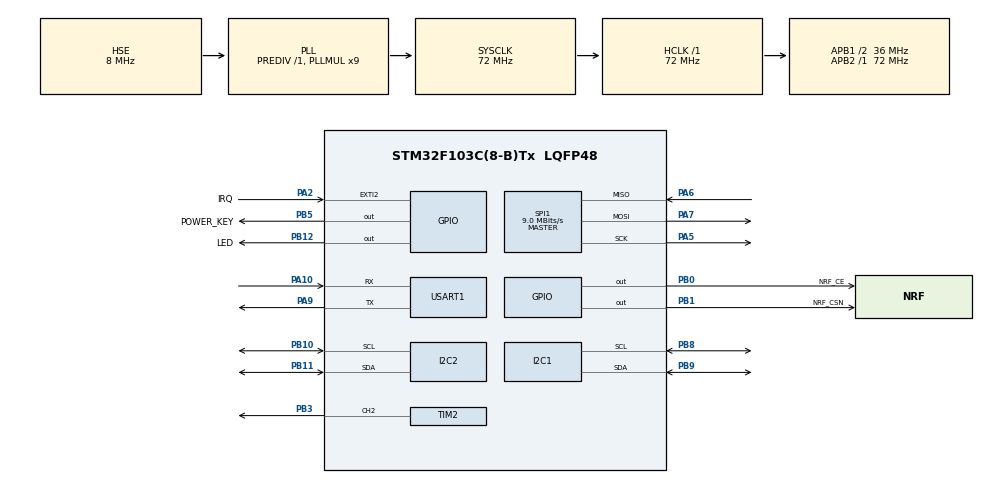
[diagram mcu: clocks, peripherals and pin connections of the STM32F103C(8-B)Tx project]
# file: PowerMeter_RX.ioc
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Mcu.Family=STM32F1
Mcu.Name=STM32F103C(8-B)Tx
Mcu.Package=LQFP48
NVIC.EXTI2_IRQn=true\:0\:0\:false\:false\:true\:true\:true\:true
NVIC.I2C2_ER_IRQn=true\:0\:0\:false\:false\:true\:true\:true\:true
NVIC.I2C2_EV_IRQn=true\:0\:0\:false\:false\:true\:true\:true\:true
NVIC.PriorityGroup=NVIC_PRIORITYGROUP_4
PA10.Mode=Asynchronous
PA10.Signal=USART1_RX
PA13.Mode=Serial_Wire
PA13.Signal=SYS_JTMS-SWDIO
PA14.Mode=Serial_Wire
PA14.Signal=SYS_JTCK-SWCLK
PA2.GPIO_Label=IRQ
PA2.GPIO_ModeDefaultEXTI=GPIO_MODE_IT_FALLING
PA2.GPIO_PuPd=GPIO_PULLUP
PA2.Signal=GPXTI2
PA5.Mode=Full_Duplex_Master
PA5.Signal=SPI1_SCK
PA6.Mode=Full_Duplex_Master
PA6.Signal=SPI1_MISO
PA7.Mode=Full_Duplex_Master
PA7.Signal=SPI1_MOSI
PA9.Mode=Asynchronous
PA9.Signal=USART1_TX
PB0.GPIO_Label=NRF_CE
PB0.Signal=GPIO_Output
PB1.GPIO_Label=NRF_CSN
PB1.PinState=GPIO_PIN_SET
PB1.Signal=GPIO_Output
PB10.Mode=I2C
PB10.Signal=I2C2_SCL
PB11.Mode=I2C
PB11.Signal=I2C2_SDA
PB12.GPIO_Label=LED
PB12.Signal=GPIO_Output
PB3.Signal=S_TIM2_CH2
PB5.GPIO_Label=POWER_KEY
PB5.Signal=GPIO_Output
PB8.GPIO_Mode=GPIO_MODE_AF_OD
PB8.Mode=I2C
PB8.Signal=I2C1_SCL
PB9.Mode=I2C
PB9.Signal=I2C1_SDA
PD0-OSC_IN.Mode=HSE-External-Oscillator
PD0-OSC_IN.Signal=RCC_OSC_IN
PD1-OSC_OUT.Mode=HSE-External-Oscillator
PD1-OSC_OUT.Signal=RCC_OSC_OUT
ProjectManager.HeapSize=0x200
ProjectManager.StackSize=0x400
ProjectManager.TargetToolchain=CMake
RCC.AHBFreq_Value=72000000
RCC.APB1CLKDivider=RCC_HCLK_DIV2
RCC.APB1Freq_Value=36000000
RCC.APB1TimFreq_Value=72000000
RCC.APB2Freq_Value=72000000
RCC.APB2TimFreq_Value=72000000
RCC.HCLKFreq_Value=72000000
RCC.PLLMUL=RCC_PLL_MUL9
RCC.PLLSourceVirtual=RCC_PLLSOURCE_HSE
RCC.SYSCLKFreq_VALUE=72000000
RCC.SYSCLKSource=RCC_SYSCLKSOURCE_PLLCLK
RCC.USBFreq_Value=72000000
SH.S_TIM2_CH2.0=TIM2_CH2,PWM Generation2 CH2
SPI1.BaudRatePrescaler=SPI_BAUDRATEPRESCALER_8
SPI1.CalculateBaudRate=9.0 MBits/s
SPI1.Direction=SPI_DIRECTION_2LINES
SPI1.Mode=SPI_MODE_MASTER
SPI1.VirtualType=VM_MASTER
TIM2.Channel-PWM\ Generation2\ CH2=TIM_CHANNEL_2
TIM2.Period=500
TIM2.Prescaler=71
TIM2.Pulse-PWM\ Generation2\ CH2=250
USART1.VirtualMode=VM_ASYNC
board=custom

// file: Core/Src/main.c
/* USER CODE BEGIN Header */
/**
  ******************************************************************************
  * @file           : main.c
  * @brief          : Main program body
  ******************************************************************************
  * @attention
  *
  * Copyright (c) 2026 STMicroelectronics.
  * All rights reserved.
  *
  * This software is licensed under terms that can be found in the LICENSE file
  * in the root directory of this software component.
  * If no LICENSE file comes with this software, it is provided AS-IS.
  *
  ******************************************************************************
  */
/* USER CODE END Header */
#include "main.h"
#include "i2c.h"
#include "spi.h"
#include "tim.h"
#include "usart.h"
#include "gpio.h"

/* USER CODE BEGIN Includes */
#include <stdio.h>
#include "OLED.h"
#include "OLED_Font.h"
#include "nrf24l01p.h"
#include "ina226.h"
#include "stm32f1xx_hal_flash.h"
/* USER CODE END Includes */

/* USER CODE BEGIN PD */

#define NRF_PAIR_ID 4u

static const uint8_t nrf_pair_addrs[][7] = {
   {0x12, 0x34, 0x56, 0x78, 0x9A}, // ID0
   {0xA1, 0xB2, 0xC3, 0xD4, 0xE5}, // ID1
   {0x57, 0x66, 0x72, 0x81, 0x99}, // ID2
   {0xA6, 0xCD, 0xEC, 0x18, 0x22}, // ID3
   {0x13, 0x57, 0x9B, 0xDF, 0x24}, // ID4
   {0x14, 0x58, 0x97, 0xD1, 0x25}, // ID5
   {0x00, 0x00, 0x00, 0x02, 0x08}, // ID6
   {0x15, 0x97, 0x9A, 0xDF, 0x74}, // ID7
};

/* USER CODE END PD */

/* USER CODE BEGIN PV */
static uint16_t tx_battery_voltage = 0;  // TX电池电压 (0.1V单位，75=7.5V)
static uint8_t  tx_low_voltage_alarm = 0; // TX低压报警标志
static uint32_t alarm_beep_counter = 0;   // 报警蜂鸣计数器

// NRF24L01通信监控变量
static uint32_t nrf_last_rx_time = 0;
static uint8_t  nrf_recovery_count = 0;
static uint32_t nrf_health_check_time = 0;
static uint32_t nrf_status_check_time = 0;
/* USER CODE END PV */

void SystemClock_Config(void);

/* USER CODE BEGIN 0 */

void NRF_Force_Set_Addr(uint8_t reg, uint8_t* addr) {
  uint8_t tx_buf[6];
  tx_buf[0] = NRF24L01P_CMD_W_REGISTER | reg;
  for(int i=0; i<5; i++) tx_buf[i+1] = addr[i];
  HAL_GPIO_WritePin(GPIOB, GPIO_PIN_1, GPIO_PIN_RESET);
  HAL_SPI_Transmit(&hspi1, tx_buf, 6, 100);
  HAL_GPIO_WritePin(GPIOB, GPIO_PIN_1, GPIO_PIN_SET);
}

// 为 RX 板添加蜂鸣器驱动函数 (控制 PB3)
// 非阻塞式蜂鸣器控制变量
static uint32_t beep_end_time = 0;
static uint8_t beep_active = 0;
static uint8_t beep_sequence_step = 0;
static uint32_t beep_sequence_delay = 0;

void RX_Beep_Start(uint16_t duration_ms) {
  HAL_TIM_PWM_Start(&htim2, TIM_CHANNEL_2);
  beep_end_time = HAL_GetTick() + duration_ms;
  beep_active = 1;
  beep_sequence_step = 0; // 重置序列
}

// 关机提示音序列：50ms响，50ms停，50ms响
void RX_Beep_Shutdown_Sequence(void) {
  if (!beep_active) {
    beep_sequence_step = 1; // 第一步：开始第一个蜂鸣
    beep_end_time = HAL_GetTick() + 50;
    beep_active = 1;
    HAL_TIM_PWM_Start(&htim2, TIM_CHANNEL_2);
  }
}

void RX_Beep_Update(void) {
  if (beep_active) {
    if (HAL_GetTick() >= beep_end_time) {
      if (beep_sequence_step == 1) {
        // 第一步结束，开始50ms间隔
        HAL_TIM_PWM_Stop(&htim2, TIM_CHANNEL_2);
        beep_sequence_step = 2;
        beep_end_time = HAL_GetTick() + 50;
      } else if (beep_sequence_step == 2) {
        // 间隔结束，开始第二个蜂鸣
        HAL_TIM_PWM_Start(&htim2, TIM_CHANNEL_2);
        beep_sequence_step = 3;
        beep_end_time = HAL_GetTick() + 50;
      } else {
        // 序列结束或单次蜂鸣结束
        HAL_TIM_PWM_Stop(&htim2, TIM_CHANNEL_2);
        beep_active = 0;
        beep_sequence_step = 0;
      }
    }
  }
}

// 兼容旧代码
void RX_Beep(uint16_t duration_ms) {
  RX_Beep_Start(duration_ms);
}

// ===================== NRF24L01 通信监控函数 =====================

// NRF状态检查回调（每5秒调用一次）
// 【新增】NRF_Health_Check() 位于 NRF_Apply_Safe_Config() 前面，
// C11 不允许未声明就调用函数，所以这里先声明完整恢复函数。
void NRF_Apply_Safe_Config(void);

void NRF_Status_Check(void) {
  if (HAL_GetTick() - nrf_status_check_time > 5000) {
    nrf_status_check_time = HAL_GetTick();
    uint8_t status = NRF_Force_Read_Reg(NRF24L01P_REG_STATUS);
    printf("[NRF] STATUS=0x%02X\r\n", status);
  }
}

// NRF健康检查和自动恢复（每30秒调用一次）
void NRF_Health_Check(void) {
  if (HAL_GetTick() - nrf_health_check_time > 30000) {
    nrf_health_check_time = HAL_GetTick();

    uint8_t config = NRF_Force_Read_Reg(NRF24L01P_REG_CONFIG);
    uint8_t en_rxaddr = NRF_Force_Read_Reg(NRF24L01P_REG_EN_RXADDR);
    uint8_t rf_ch = NRF_Force_Read_Reg(NRF24L01P_REG_RF_CH);
    uint8_t setup_aw = NRF_Force_Read_Reg(NRF24L01P_REG_SETUP_AW);
    uint8_t en_aa = NRF_Force_Read_Reg(NRF24L01P_REG_EN_AA);
    uint8_t feature = NRF_Force_Read_Reg(NRF24L01P_REG_FEATURE);

    uint8_t need_fix = 0;

    // ===================== 【修改】RX 健康检查条件 =====================
    // 旧逻辑会检查 FIFO_STATUS，并把 RX_EMPTY/TX_EMPTY 当作异常。
    // 但空闲时 FIFO 本来就经常是 empty，这会导致 RX 每 30 秒误恢复一次，反而扰乱 NRF。
    // 现在只检查“明确不应该变化”的关键配置寄存器。
    if (config == 0xFF || config == 0x00) need_fix = 1; // SPI/NRF 掉线或锁死
    if ((config & 0x03) != 0x03) need_fix = 1;
    if ((en_rxaddr & 0x01) == 0) need_fix = 1;
    if (rf_ch != 100) need_fix = 1;          // 2500MHz -> RF_CH = 100
    if ((setup_aw & 0x03) != 0x03) need_fix = 1;
    if ((en_aa & 0x01) == 0) need_fix = 1;
    if ((feature & 0x06) != 0x06) need_fix = 1;
    // =================== 【修改结束】RX 健康检查条件 ===================

    if (need_fix) {
      printf("[NRF] Health check: full recovery\r\n");
      // 【修改】不再只修几个位，而是调用完整配置函数。
      // 这样地址、FEATURE、DYNPD、EN_AA、FIFO、PRX 模式会全部重新写一遍。
      NRF_Apply_Safe_Config();
      nrf_last_rx_time = HAL_GetTick();
      nrf_recovery_count = 0;
    }
  }
}

// 统一配置应用函数：初始化和恢复时共同调用，确保地址和寄存器完整重载
void NRF_Apply_Safe_Config(void) {
  // 1. 安全解锁特性寄存器
  uint8_t feature = NRF_Force_Read_Reg(NRF24L01P_REG_FEATURE);
  if ((feature & 0x06) != 0x06) {
    NRF_Force_Write_Reg(NRF24L01P_REG_FEATURE, 0x06);
    if ((NRF_Force_Read_Reg(NRF24L01P_REG_FEATURE) & 0x06) != 0x06) {
      // 发送 ACTIVATE 命令解锁 FEATURE 寄存器（部分克隆芯片需要）
      uint8_t activate_cmd[2] = {0x50, 0x73};
      HAL_GPIO_WritePin(GPIOB, GPIO_PIN_1, GPIO_PIN_RESET);
      HAL_SPI_Transmit(&hspi1, activate_cmd, 2, 100);
      HAL_GPIO_WritePin(GPIOB, GPIO_PIN_1, GPIO_PIN_SET);
      NRF_Force_Write_Reg(NRF24L01P_REG_FEATURE, 0x06);
    }
  }

  // 2. 覆盖库函数可能写错的寄存器
  NRF_Force_Write_Reg(NRF24L01P_REG_SETUP_RETR, 0x5F); // 匹配 TX
  NRF_Force_Write_Reg(NRF24L01P_REG_EN_AA, 0x01);
  NRF_Force_Write_Reg(NRF24L01P_REG_DYNPD, 0x01);
  NRF_Force_Write_Reg(NRF24L01P_REG_EN_RXADDR, 0x01);
  NRF_Force_Write_Reg(NRF24L01P_REG_RX_PW_P0, 8);      // 强制 8 字节，防乱码

  // 3. 配置配对地址（恢复时最关键的一步，防止 prx_mode 覆盖地址）
  const uint8_t *rx_addr = nrf_pair_addrs[NRF_PAIR_ID];
  NRF_Force_Set_Addr(NRF24L01P_REG_RX_ADDR_P0, (uint8_t *)rx_addr);
  NRF_Force_Set_Addr(NRF24L01P_REG_TX_ADDR, (uint8_t *)rx_addr); // ACK 应答必须发往此地址

  // 4. 屏蔽中断引脚并确保 PRX 模式位正确
  uint8_t config = NRF_Force_Read_Reg(NRF24L01P_REG_CONFIG);
  // 【修改】恢复时不仅屏蔽 IRQ，还强制 PWR_UP=1、PRIM_RX=1。
  // 这样即使 NRF CONFIG 寄存器被干扰清零，也能回到接收模式。
  config |= 0x73; // MASK_IRQ(0x70) + PWR_UP(0x02) + PRIM_RX(0x01)
  NRF_Force_Write_Reg(NRF24L01P_REG_CONFIG, config);

  // 5. 清空 FIFO 和状态标志
  nrf24l01p_flush_rx_fifo();
  nrf24l01p_flush_tx_fifo();
  NRF_Force_Write_Reg(NRF24L01P_REG_STATUS, 0x70);

  // 6. 预装填第一发 ACK 返回数据
  uint8_t init_ack[8] = {0xBB, 0, 0, 0, 0, 0, 0, 0};
  nrf24l01p_write_ack_payload(0, init_ack);

  // 7. 进入 PRX 模式（在地址写入之后调用，防止库函数覆盖地址）
  nrf24l01p_prx_mode();
}

// NRF通信恢复检查（每15秒检查一次）
void NRF_Recovery_Check(void) {
  if (nrf_last_rx_time > 0 && HAL_GetTick() - nrf_last_rx_time > 15000) {
    nrf_recovery_count++;
    if (nrf_recovery_count >= 2) {
      printf("[NRF] No RX for 30s, recovering...\r\n");
      // 调用完整配置函数，确保地址和所有寄存器被正确重载
      // 不再单独调用 nrf24l01p_prx_mode()，防止其覆盖配对地址
      NRF_Apply_Safe_Config();
      nrf_recovery_count = 0;
      nrf_last_rx_time = HAL_GetTick();
    }
  }
}

// 记录收到数据（每次收到数据时调用）
void NRF_OnDataReceived(void) {
  nrf_last_rx_time = HAL_GetTick();
  nrf_recovery_count = 0;
}

// ===================== 结束 NRF监控 =====================

void nrf24l01p_print_status(void)
{
  uint8_t status = nrf24l01p_get_status();
  uint8_t config = NRF_Force_Read_Reg(NRF24L01P_REG_CONFIG);
  uint8_t rf_ch = NRF_Force_Read_Reg(NRF24L01P_REG_RF_CH);
  uint8_t setup_aw = NRF_Force_Read_Reg(NRF24L01P_REG_SETUP_AW);
  uint8_t en_aa = NRF_Force_Read_Reg(NRF24L01P_REG_EN_AA);
  uint8_t en_rxaddr = NRF_Force_Read_Reg(NRF24L01P_REG_EN_RXADDR);
  uint8_t rx_addr[5], tx_addr[5];

  nrf24l01p_read_registers(NRF24L01P_REG_RX_ADDR_P0, rx_addr, 5);
  nrf24l01p_read_registers(NRF24L01P_REG_TX_ADDR, tx_addr, 5);

  printf("[NRF DEBUG] STATUS=0x%02X CONFIG=0x%02X RF_CH=%u EN_AA=0x%02X EN_RXADDR=0x%02X SETUP_AW=0x%02X\n",
         status, config, rf_ch, en_aa, en_rxaddr, setup_aw);
  printf("[NRF DEBUG] RX_ADDR_P0=%02X%02X%02X%02X%02X TX_ADDR=%02X%02X%02X%02X%02X\n",
         rx_addr[0], rx_addr[1], rx_addr[2], rx_addr[3], rx_addr[4],
         tx_addr[0], tx_addr[1], tx_addr[2], tx_addr[3], tx_addr[4]);
}

/* USER CODE END 0 */

int main(void)
{

  /* MCU Configuration--------------------------------------------------------*/

  /* Reset of all peripherals, Initializes the Flash interface and the Systick. */
  HAL_Init();

  /* USER CODE BEGIN Init */
  HAL_GPIO_WritePin(GPIOB, GPIO_PIN_8 | GPIO_PIN_9, GPIO_PIN_SET); // 强制拉高 SCL/SDA
  HAL_Delay(100);
  /* USER CODE END Init */

  /* Configure the system clock */
  SystemClock_Config();

  /* Initialize all configured peripherals */
  MX_GPIO_Init();
  MX_I2C1_Init();
  MX_SPI1_Init();
  MX_USART1_UART_Init();
  MX_TIM2_Init();
  MX_I2C2_Init();
  /* USER CODE BEGIN 2 */
  __HAL_RCC_AFIO_CLK_ENABLE();
  // 【黄金上电延时】
  // 等待电源电压彻底稳定，等待 NRF24L01 和 INA226 芯片完成内部上电复位
  HAL_Delay(200);
  // OLED 初始化（之前未调用，导致屏幕黑屏）
  OLED_Init();
  OLED_Clear();
  printf("\r\n--- Power RX Board Listening ---\r\n");

  // ID 显示现在由 INA226_ShowPower 统一管理

  // 1. 初始化 NRF (1Mbps)
  nrf24l01p_rx_init(2500, _1Mbps);

  // 2. 调用统一安全配置函数（初始化与恢复共用同一套逻辑，保证行为一致）
  NRF_Apply_Safe_Config();

  // ===================== 【新增】RX 恢复计时起点 =====================
  // 旧逻辑只有收到第一包后 nrf_last_rx_time 才会大于 0。
  // 如果上电后一直没收到 TX，恢复检查就不会启动。
  // 初始化完成后立即赋值，让 RX 即使“开机后无包”也能周期性自恢复。
  nrf_last_rx_time = HAL_GetTick();
  // =================== 【新增结束】RX 恢复计时起点 ===================

  HAL_GPIO_WritePin(GPIOB, GPIO_PIN_0, GPIO_PIN_SET);

  RX_Beep(100);

  if (HAL_I2C_GetState(&hi2c2) != HAL_I2C_STATE_READY) {
    __HAL_RCC_I2C2_FORCE_RESET();
    HAL_Delay(2);
    __HAL_RCC_I2C2_RELEASE_RESET();
    MX_I2C2_Init();
  }
  INA226_Init();

  uint8_t rx_data[8];
  uint32_t power_counter = 0;
  float global_power_f = 0.0f;

  // ===== 添加物理按键(PA2)状态变量 =====
  uint8_t  button_state = 0;
  uint32_t button_press_time = 0;
  uint8_t  manual_lock_off = 0; // 0: 允许TX控制通断, 1: 物理按键强制关断，拒收TX开机指令
  // ===================================

  /* USER CODE END 2 */

  /* Infinite loop */
  /* USER CODE BEGIN WHILE */
  while (1)
  {
    HAL_GPIO_TogglePin(GPIOB, GPIO_PIN_12);

    // ===================== 物理按键逻辑 (PA2) =====================
    uint8_t current_pa2 = HAL_GPIO_ReadPin(GPIOA, GPIO_PIN_2);

    if (current_pa2 == GPIO_PIN_RESET) {
      // 按键被按下 (低电平有效)
      if (button_state == 0) {
        button_state = 1;
        button_press_time = HAL_GetTick(); // 记录刚刚按下的时刻
      } else if (button_state == 1) {
        // 人性化提示：按满2秒时，给一个短促提示音，告诉用户达到长按条件可以松手了
        if (HAL_GetTick() - button_press_time >= 2000) {
          button_state = 2; // 标记为已触发长按时间
          if (!beep_active) {
            RX_Beep_Start(50);
          }
        }
      }
    } else {
      // 按键松开 (高电平)
      if (button_state == 1 || button_state == 2) {
        uint32_t press_duration = HAL_GetTick() - button_press_time;
        button_state = 0; // 重置按键状态

        // 消除抖动 (>30ms 才认为是有效按键)
        if (press_duration > 30) {
          if (press_duration < 2000) {
            // 短按 (<2秒)松开：关机 (PB5 = 低电平)
            HAL_GPIO_WritePin(GPIOB, GPIO_PIN_5, GPIO_PIN_RESET);
            manual_lock_off = 1; // 【强制锁定】禁止TX将其开机
            printf("[BUTTON] Short Press -> Power OFF\r\n");
            // 立即停止其他所有蜂鸣
            if (beep_active) {
              HAL_TIM_PWM_Stop(&htim2, TIM_CHANNEL_2);
              beep_active = 0;
              beep_sequence_step = 0;
            }
            RX_Beep_Shutdown_Sequence(); // 关机专属提示音
          } else {
            // 长按 (>=2秒)松开：开机 (PB5 = 高电平)
            HAL_GPIO_WritePin(GPIOB, GPIO_PIN_5, GPIO_PIN_SET);
            manual_lock_off = 0;
            printf("[BUTTON] Long Press -> Power ON\r\n");
            if (!beep_active) {
              RX_Beep_Start(100); // 开机提示音
            }
          }
        }
      }
    }
    // ===============================================================

    // NRF通信监控（状态检查、健康检查、通信恢复）
    NRF_Status_Check();
    NRF_Health_Check();
    NRF_Recovery_Check();

    uint8_t status = NRF_Force_Read_Reg(NRF24L01P_REG_STATUS);
    // 过滤 SPI 异常值：0xFF 表示总线故障（全高），0x00 表示总线故障（全低）
    // 两者都可能导致误判为"有数据"，从而刷新健康时间、阻止恢复机制触发
    if (status != 0xFF && status != 0x00 && (status & 0x40)) {
      // 不调用带中断控制的 rx_receive，直接使用最底层的读取
      nrf24l01p_read_rx_fifo(rx_data);

      // 记录收到数据
      NRF_OnDataReceived();

      // 打印 RX 收到的 TX 发送数据
      printf("[RX] Recv DATA: %02X %02X %02X %02X %02X %02X %02X %02X\r\n",
             rx_data[0], rx_data[1], rx_data[2], rx_data[3],
             rx_data[4], rx_data[5], rx_data[6], rx_data[7]);

      NRF_Force_Write_Reg(NRF24L01P_REG_STATUS, 0x70); // 清空标志位
      nrf24l01p_flush_rx_fifo();

      // 乘 1000，把单位变成毫瓦 (mW)
      // 比如 0.020W * 1000 = 20mW。这样强转整数就不会丢
      uint16_t pwr_int = (uint16_t)(global_power_f * 1000.0f);
      // 获取最新 MOS 状态
      uint8_t current_mos = HAL_GPIO_ReadPin(GPIOB, GPIO_PIN_5);
      // 把 mos_state 塞到第 4 个位置（也就是索引 [3]）
      uint8_t ack_payload[8] = {0xBB, (uint8_t)(pwr_int >> 8), (uint8_t)(pwr_int & 0xFF), current_mos, 0, 0, 0, 0};

      if ((NRF_Force_Read_Reg(NRF24L01P_REG_FIFO_STATUS) & 0x20) == 0) {
        nrf24l01p_write_ack_payload(0, ack_payload);
      }

      if (rx_data[0] == 0xAA) {
        // 解析TX电池电压 (tx_data[1]是高8位，tx_data[2]是低8位，单位0.1V)
        tx_battery_voltage = ((uint16_t)rx_data[1] << 8) | rx_data[2];
        printf("[RX] TX Battery Voltage: %d.%dV\r\n", tx_battery_voltage / 10, tx_battery_voltage % 10);

        // 检查TX电池电压是否低于7.5V (75 = 7.5V)
        if (tx_battery_voltage > 0 && tx_battery_voltage < 75) {
          tx_low_voltage_alarm = 1;
        } else {
          tx_low_voltage_alarm = 0;
        }

        // ================= 修复 =================
        // 只有在【状态确实发生改变】时，才发出动作和蜂鸣器响声
        // 命令优先级处理：关机命令最高优先级
        if (rx_data[3] == 0x00)
        {
          // 关机命令
          // TX 试图关机：只有当前是开机状态，才需要动作！
          if (current_mos == GPIO_PIN_SET) {
            HAL_GPIO_WritePin(GPIOB, GPIO_PIN_5, GPIO_PIN_RESET);
            // 注意：这里不再主动重置最大电流，以便断电记忆功能正常工作
            // 如果需要每次关机都重置最大电流，可以取消下面这行的注释：
            // INA226_ResetMaxCurrent();
            // 立即停止任何正在进行的蜂鸣
            if (beep_active) {
              HAL_TIM_PWM_Stop(&htim2, TIM_CHANNEL_2);
              beep_active = 0;
              beep_sequence_step = 0;
            }
            // 关机提示音：两次短响序列
            RX_Beep_Shutdown_Sequence();
            printf("[RX] Shutdown command executed (high priority)\r\n");
          }
        }
        else if (rx_data[3] == 0x01) {
          // TX 试图开机：必须同时满足“未被锁定” 且 “当前是关机状态”，才需要动作！
          if (manual_lock_off) {
            // 【核心逻辑】如果物理按键已经将系统锁定关机，则拒绝执行遥控器的开机指令！
            printf("[RX] Ignored TX Power ON (Manually LOCKED OFF)\r\n");
          } else {
            if (current_mos == GPIO_PIN_RESET) {
              HAL_GPIO_WritePin(GPIOB, GPIO_PIN_5, GPIO_PIN_SET);
              if (!beep_active) {
                RX_Beep_Start(100);
              }
              printf("[RX] TX Power ON executed\r\n");
            }
          }
        }
      }
    }

    // ===== TX电池低压报警逻辑 (两短一长) =====
    if (tx_low_voltage_alarm) {
      alarm_beep_counter++;
      // 报警周期：约 600ms 一次两短一长
      // 两短一长：50ms + 50ms(停) + 50ms + 200ms = 350ms 响，周期约600ms
      uint32_t beep_pos = alarm_beep_counter % 12;  // 12*50ms = 600ms 周期

      // 两短：第1个50ms和第3个50ms，第2个和第4个50ms是间隔
      // 一长：第5-9个50ms (共250ms)
      if (beep_pos == 0 || beep_pos == 2) {
        // 短响 - 只有在没有其他蜂鸣时才响
        if (!beep_active) {
          HAL_TIM_PWM_Start(&htim2, TIM_CHANNEL_2);
        }
      } else if (beep_pos >= 4 && beep_pos < 9) {
        // 长响：第5-9个50ms (共250ms) - 只有在没有其他蜂鸣时才响
        if (!beep_active) {
          HAL_TIM_PWM_Start(&htim2, TIM_CHANNEL_2);
        }
      } else {
        // 只有在没有其他蜂鸣时才停止
        if (!beep_active) {
          HAL_TIM_PWM_Stop(&htim2, TIM_CHANNEL_2);
        }
      }
    } else {
      // 清除报警状态，关闭蜂鸣器（只有在没有其他蜂鸣时才停止）
      if (!beep_active) {
        HAL_TIM_PWM_Stop(&htim2, TIM_CHANNEL_2);
      }
      alarm_beep_counter = 0;
    }

    if (++power_counter >= 20)
    {
      power_counter = 0;
      INA226_ShowPower(NRF_PAIR_ID);
      global_power_f = INA226_ReadPower();

      // 动态 I2C2 恢复：INA226_ShowPower 检测到运行时读取失败后会将 ina226_ready 置 0
      // 此处捕获该状态，对 I2C2 总线执行软件复位并重新初始化 INA226
      if (!INA226_GetStatus()) {
        printf("[I2C2] INA226 error detected, resetting I2C2 bus...\r\n");
        __HAL_RCC_I2C2_FORCE_RESET();
        HAL_Delay(5);
        __HAL_RCC_I2C2_RELEASE_RESET();
        HAL_Delay(5);
        MX_I2C2_Init();
        INA226_Init(); // 重新配置 INA226 寄存器（含 CONFIG 和 CALIB）
      }
      // 【修复】将静态变量定义在 if...else 外部，保证是同一个变量
      static uint8_t over_power_count = 0;
      // 最大功率长时间断电保护
      if (global_power_f > 50.0f) {
        // 非阻塞蜂鸣，避免系统阻塞
        if (!beep_active) {
          RX_Beep_Start(500);
        }

        // 紧急情况：如果功率持续过大，考虑自动保护
        over_power_count++;
        if (over_power_count > 10) { // 连续10次检测到过功率（约10秒）
          // 自动关闭输出作为保护
          HAL_GPIO_WritePin(GPIOB, GPIO_PIN_5, GPIO_PIN_RESET);
          printf("[EMERGENCY] Auto shutdown due to sustained over-power!\r\n");
          over_power_count = 0; // 触发后清零
        }
      } else {
        // 功率恢复正常，重置过功率计数
        over_power_count = 0;
      }
    }

    // 更新非阻塞蜂鸣器状态
    RX_Beep_Update();

    HAL_Delay(50); // 适度轮询延时，保持极高的按键响应灵敏度
    /* USER CODE END WHILE */

  }
}

void SystemClock_Config(void)
{
  RCC_OscInitTypeDef RCC_OscInitStruct = {0};
  RCC_ClkInitTypeDef RCC_ClkInitStruct = {0};

  /** Initializes the RCC Oscillators according to the specified parameters
  * in the RCC_OscInitTypeDef structure.
  */
  RCC_OscInitStruct.OscillatorType = RCC_OSCILLATORTYPE_HSE;
  RCC_OscInitStruct.HSEState = RCC_HSE_ON;
  RCC_OscInitStruct.HSEPredivValue = RCC_HSE_PREDIV_DIV1;
  RCC_OscInitStruct.HSIState = RCC_HSI_ON;
  RCC_OscInitStruct.PLL.PLLState = RCC_PLL_ON;
  RCC_OscInitStruct.PLL.PLLSource = RCC_PLLSOURCE_HSE;
  RCC_OscInitStruct.PLL.PLLMUL = RCC_PLL_MUL9;
  if (HAL_RCC_OscConfig(&RCC_OscInitStruct) != HAL_OK)
  {
    Error_Handler();
  }

  /** Initializes the CPU, AHB and APB buses clocks
  */
  RCC_ClkInitStruct.ClockType = RCC_CLOCKTYPE_HCLK|RCC_CLOCKTYPE_SYSCLK
                              |RCC_CLOCKTYPE_PCLK1|RCC_CLOCKTYPE_PCLK2;
  RCC_ClkInitStruct.SYSCLKSource = RCC_SYSCLKSOURCE_PLLCLK;
  RCC_ClkInitStruct.AHBCLKDivider = RCC_SYSCLK_DIV1;
  RCC_ClkInitStruct.APB1CLKDivider = RCC_HCLK_DIV2;
  RCC_ClkInitStruct.APB2CLKDivider = RCC_HCLK_DIV1;

  if (HAL_RCC_ClockConfig(&RCC_ClkInitStruct, FLASH_LATENCY_2) != HAL_OK)
  {
    Error_Handler();
  }
}

void Error_Handler(void)
{
  __disable_irq();
  while (1)
  {
  }
}
